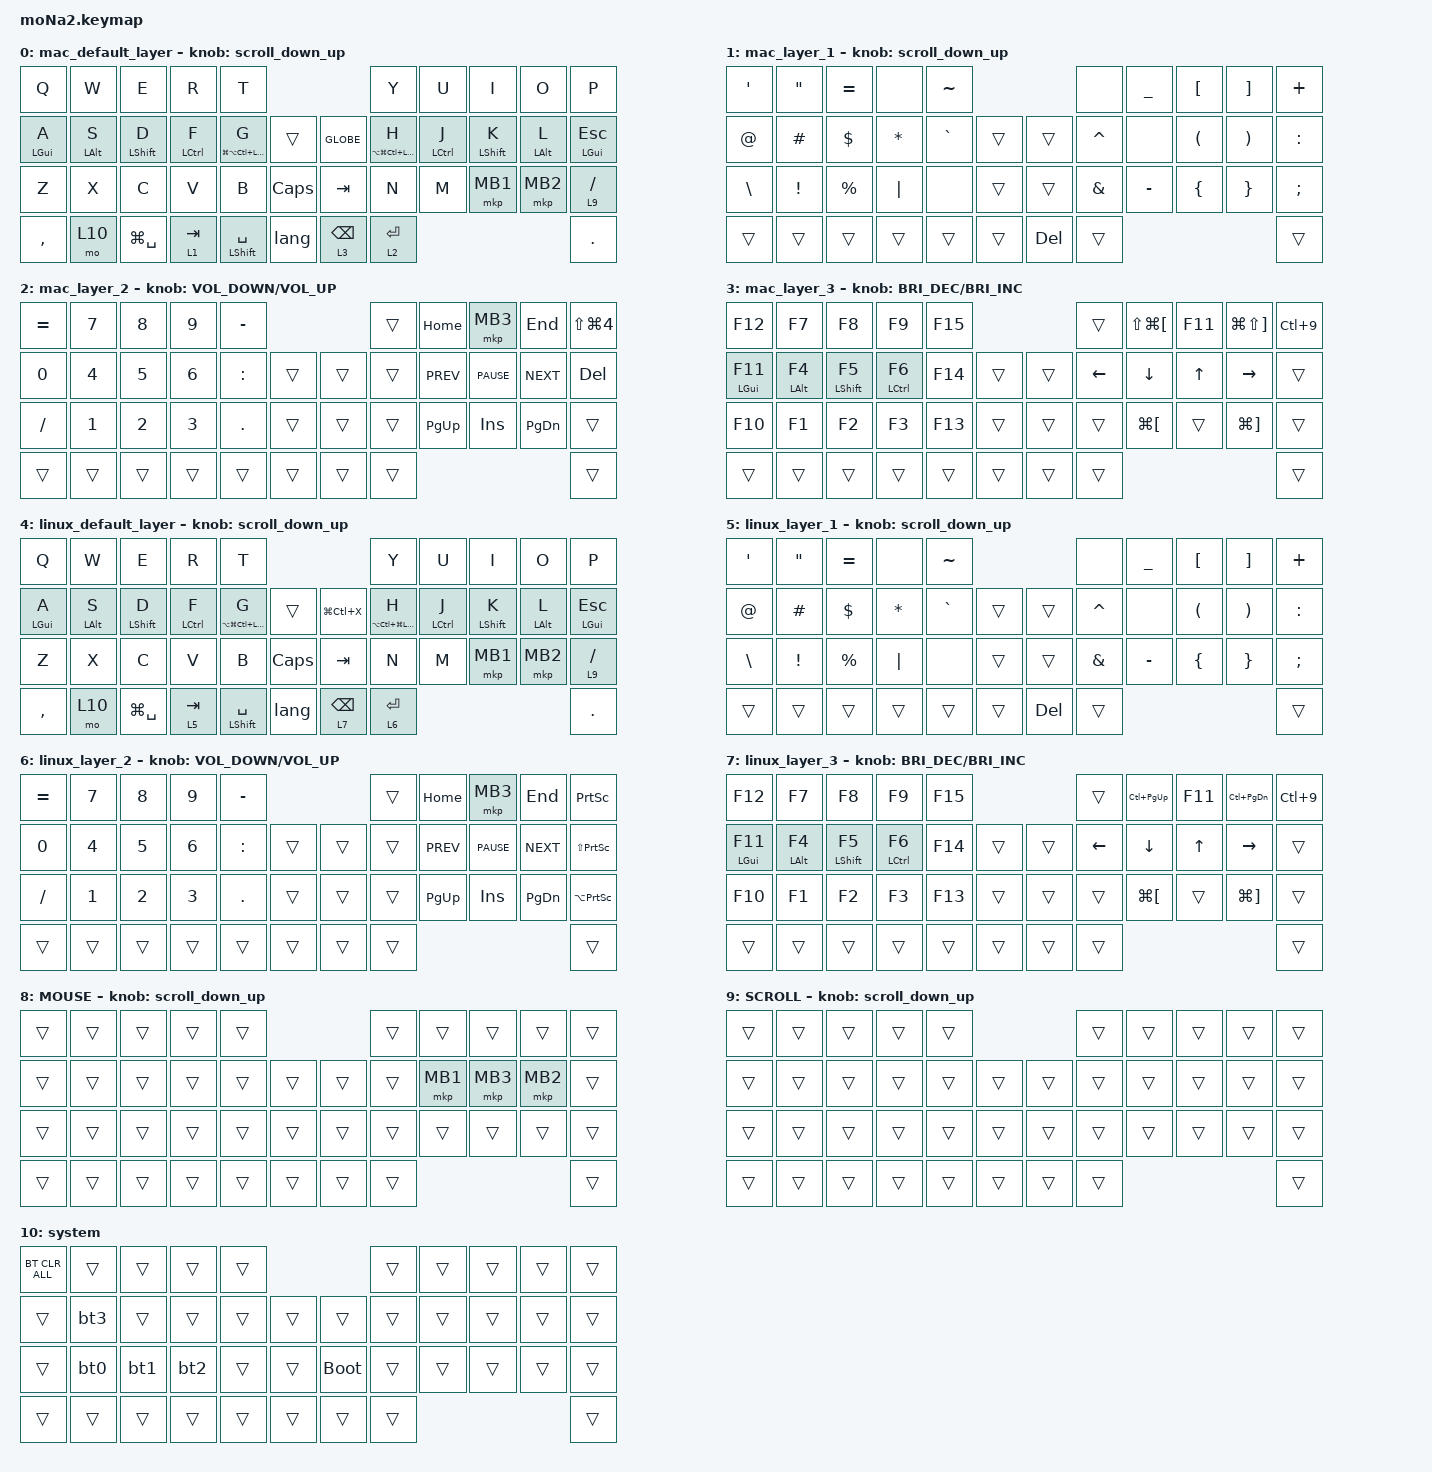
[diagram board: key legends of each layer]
#include <input/processors.dtsi>
#include <behaviors.dtsi>
#include <dt-bindings/zmk/bt.h>
#include <dt-bindings/zmk/keys.h>
#include <dt-bindings/zmk/pointing.h>

#define ZMK_POINTING_DEFAULT_SCRL_VAL 100
#define MOUSE 8

&mkp_input_listener { input-processors = <&zip_temp_layer 8 250>; };

&mt {
    flavor = "balanced";
    quick-tap-ms = <250>;
};

&lt {
    quick-tap-ms = <250>;
    flavor = "balanced";
};

/ {
    combos {
        compatible = "zmk,combos";

        test {
            bindings = <&none>;
            key-positions = <18 20 7 10 11 12 13>;
        };
    };

    macros {
        bt0: bt0 {
            compatible = "zmk,behavior-macro";
            #binding-cells = <0>;
            bindings =
                <&tog_off 0 &tog_off 4>,
                <&macro_wait_time 200>,
                <&bt BT_SEL 0>,
                <&macro_wait_time 500>;

            label = "BT0";
        };

        bt1: bt1 {
            compatible = "zmk,behavior-macro";
            #binding-cells = <0>;
            bindings =
                <&tog_off 0 &tog_off 4>,
                <&macro_wait_time 200>,
                <&bt BT_SEL 1>,
                <&macro_wait_time 500>,
                <&tog_on 4>;

            label = "BT1";
        };

        bt2: bt2 {
            compatible = "zmk,behavior-macro";
            #binding-cells = <0>;
            bindings =
                <&tog_off 0 &tog_off 4>,
                <&macro_wait_time 200>,
                <&bt BT_SEL 2>,
                <&macro_wait_time 500>,
                <&tog_on 4>;

            label = "BT2";
        };

        exit_AML: exit_AML {
            compatible = "zmk,behavior-macro";
            wait-ms = <0>;
            tap-ms = <0>;
            #binding-cells = <0>;
            bindings = <&tog_off MOUSE>;
            label = "exit_AML";
        };

        kp_exit_AML: kp_exit_AML {
            compatible = "zmk,behavior-macro-one-param";
            wait-ms = <0>;
            tap-ms = <0>;
            #binding-cells = <1>;
            bindings = <&macro_param_1to1 &kp MACRO_PLACEHOLDER &exit_AML>;
            label = "KP_exit_AML";
        };

        bt3: bt3 {
            compatible = "zmk,behavior-macro";
            #binding-cells = <0>;
            bindings =
                <&tog_off 0 &tog_off 4>,
                <&macro_wait_time 200>,
                <&bt BT_SEL 3>,
                <&macro_wait_time 500>;

            label = "BT3";
        };
    };

    behaviors {
        lt_to_layer_0: lt_to_layer_0 {
            compatible = "zmk,behavior-hold-tap";
            label = "LAYER_TAP_TO_0";
            bindings = <&mo>, <&bt0>;

            #binding-cells = <2>;
            tapping-term-ms = <200>;
        };

        scroll_up_down: behavior_sensor_rotate_mouse_wheel_up_down {
            compatible = "zmk,behavior-sensor-rotate";
            #sensor-binding-cells = <0>;
            bindings = <&msc SCRL_UP>, <&msc SCRL_DOWN>;

            tap-ms = <20>;
        };

        tog_on: tog_on {
            compatible = "zmk,behavior-toggle-layer";
            label = "TOG_ON";
            #binding-cells = <1>;
        };

        tog_off: tog_off {
            compatible = "zmk,behavior-toggle-layer";
            label = "TOG_OFF";
            #binding-cells = <1>;
            toggle-mode = "off";
        };

        lang: lang {
            compatible = "zmk,behavior-tap-dance";
            label = "LANG";
            #binding-cells = <0>;
            bindings = <&kp LANG2>, <&kp LANG1>;
        };

        lang_linux: lang_linux {
            compatible = "zmk,behavior-tap-dance";
            label = "LANG_LINUX";
            #binding-cells = <0>;
            bindings = <&kp INT_MUHENKAN>, <&kp INT_HENKAN>;
        };

        mt_exit_AML_on_tap: mt_exit_AML_on_tap {
            compatible = "zmk,behavior-hold-tap";
            label = "MT_exit_AML_ON_TAP";
            bindings = <&kp>, <&kp_exit_AML>;

            #binding-cells = <2>;
            tapping-term-ms = <200>;
            flavor = "balanced";
            quick-tap-ms = <300>;
        };

        super_mouse_click: super_mouse_click {
            compatible = "zmk,behavior-hold-tap";
            label = "SUPER_MOUSE_CLICK";
            bindings = <&kp>, <&mkp>;

            #binding-cells = <2>;
            tapping-term-ms = <200>;
            quick-tap-ms = <0>;
            flavor = "tap-unless-interrupted";
            hold-while-undecided;
        };

        hml: hml {
            compatible = "zmk,behavior-hold-tap";
            label = "HML";
            bindings = <&kp>, <&kp>;

            #binding-cells = <2>;
            flavor = "balanced";
            require-prior-idle-ms = <150>;
            tapping-term-ms = <280>;
            quick-tap-ms = <175>;
            hold-trigger-on-release;
            hold-trigger-key-positions = <16 17 18 19 20 21 28 29 30 31 32 33 40 41 42 5 6 7 8 9>;
        };

        hmr: hmr {
            compatible = "zmk,behavior-hold-tap";
            label = "HMR";
            bindings = <&kp>, <&kp>;

            #binding-cells = <2>;
            flavor = "balanced";
            require-prior-idle-ms = <150>;
            tapping-term-ms = <280>;
            quick-tap-ms = <175>;
            hold-trigger-on-release;
            hold-trigger-key-positions = <0 1 2 3 4 10 11 12 13 14 15 22 23 24 25 26 27 34 35 36 37 38 39>;
        };

        scroll_down_up: scroll_down_up {
            compatible = "zmk,behavior-sensor-rotate";
            #sensor-binding-cells = <0>;
            bindings = <&msc SCRL_DOWN>, <&msc SCRL_UP>;

            tap-ms = <20>;
            label = "SCROLL_DOWN_UP";
        };
    };

    keymap {
        compatible = "zmk,keymap";

        mac_default_layer {
            bindings = <
&kp Q            &kp W            &kp E              &kp R         &kp T                                                           &kp Y                          &kp U         &kp I              &kp O            &kp P
&hml LEFT_GUI A  &hml LEFT_ALT S  &hml LEFT_SHIFT D  &hml LCTRL F  &hml LG(LA(LC(LEFT_SHIFT))) G  &trans          &kp GLOBE        &hmr LA(LG(LC(LEFT_SHIFT))) H  &hmr LCTRL J  &hmr LEFT_SHIFT K  &hmr LEFT_ALT L  &hmr LEFT_GUI ESCAPE
&kp Z            &kp X            &kp C              &kp V         &kp B                          &kp CAPSLOCK    &kp TAB          &kp N                          &kp M         &mkp MB1           &mkp MB2         &lt 9 SLASH
&kp COMMA        &mo 10           &kp LG(SPACE)      &lt 1 TAB     &mt LEFT_SHIFT SPACE           &lang           &lt 3 BACKSPACE  &lt 2 ENTER                                                                      &kp PERIOD
            >;

            sensor-bindings = <&scroll_down_up>;
        };

        mac_layer_1 {
            bindings = <
&kp SINGLE_QUOTE  &kp DOUBLE_QUOTES  &kp EQUAL    &none         &kp TILDE                        &none          &kp UNDERSCORE  &kp LEFT_BRACKET      &kp RIGHT_BRACKET      &kp PLUS
&kp AT_SIGN       &kp HASH           &kp DOLLAR   &kp ASTERISK  &kp GRAVE  &trans    &trans      &kp CARET      &none           &kp LEFT_PARENTHESIS  &kp RIGHT_PARENTHESIS  &kp COLON
&kp BACKSLASH     &kp EXCLAMATION    &kp PERCENT  &kp PIPE      &none      &trans    &trans      &kp AMPERSAND  &kp MINUS       &kp LEFT_BRACE        &kp RIGHT_BRACE        &kp SEMICOLON
&trans            &trans             &trans       &trans        &trans     &trans    &kp DELETE  &trans                                                                      &trans
            >;

            sensor-bindings = <&scroll_down_up>;
        };

        mac_layer_2 {
            bindings = <
&kp EQUAL  &kp N7        &kp N8        &kp N9        &kp MINUS                     &trans  &kp HOME     &mkp MB3     &kp END        &kp LS(LG(NUMBER_4))
&kp N0     &kp NUMBER_4  &kp N5        &kp NUMBER_6  &kp COLON   &trans    &trans  &trans  &kp C_PREV   &kp C_PAUSE  &kp C_NEXT     &kp DEL
&kp SLASH  &kp NUMBER_1  &kp NUMBER_2  &kp NUMBER_3  &kp PERIOD  &trans    &trans  &trans  &kp PAGE_UP  &kp INS      &kp PAGE_DOWN  &trans
&trans     &trans        &trans        &trans        &trans      &trans    &trans  &trans                                           &trans
            >;

            sensor-bindings = <&inc_dec_kp C_VOLUME_DOWN C_VOL_UP>;
        };

        mac_layer_3 {
            bindings = <
&kp F12           &kp F7           &kp F8             &kp F9        &kp F15                    &trans          &kp LS(LG(LEFT_BRACKET))  &kp F11       &kp LG(LS(RIGHT_BRACKET))  &kp LC(N9)
&mt LEFT_GUI F11  &mt LEFT_ALT F4  &mt LEFT_SHIFT F5  &mt LCTRL F6  &kp F14  &trans    &trans  &kp LEFT_ARROW  &kp DOWN                  &kp UP_ARROW  &kp RIGHT                  &trans
&kp F10           &kp F1           &kp F2             &kp F3        &kp F13  &trans    &trans  &trans          &kp LG(LEFT_BRACKET)      &trans        &kp LG(RIGHT_BRACKET)      &trans
&trans            &trans           &trans             &trans        &trans   &trans    &trans  &trans                                                                             &trans
            >;

            sensor-bindings = <&inc_dec_kp C_BRIGHTNESS_DEC C_BRIGHTNESS_INC>;
        };

        linux_default_layer {
            bindings = <
&kp Q            &kp W            &kp E              &kp R         &kp T                                                           &kp Y                          &kp U         &kp I              &kp O            &kp P
&hml LEFT_GUI A  &hml LEFT_ALT S  &hml LEFT_SHIFT D  &hml LCTRL F  &hml LA(LG(LC(LEFT_SHIFT))) G  &trans          &kp LG(LC(X))    &hmr LA(LC(LG(LEFT_SHIFT))) H  &hmr LCTRL J  &hmr LEFT_SHIFT K  &hmr LEFT_ALT L  &hmr LEFT_GUI ESCAPE
&kp Z            &kp X            &kp C              &kp V         &kp B                          &kp CAPSLOCK    &kp TAB          &kp N                          &kp M         &mkp MB1           &mkp MB2         &lt 9 SLASH
&kp COMMA        &mo 10           &kp LG(SPACE)      &lt 5 TAB     &mt LEFT_SHIFT SPACE           &lang           &lt 7 BACKSPACE  &lt 6 ENTER                                                                      &kp PERIOD
            >;

            sensor-bindings = <&scroll_down_up>;
        };

        linux_layer_1 {
            bindings = <
&kp SINGLE_QUOTE  &kp DOUBLE_QUOTES  &kp EQUAL    &none         &kp TILDE                        &none          &kp UNDERSCORE  &kp LEFT_BRACKET      &kp RIGHT_BRACKET      &kp PLUS
&kp AT_SIGN       &kp HASH           &kp DOLLAR   &kp ASTERISK  &kp GRAVE  &trans    &trans      &kp CARET      &none           &kp LEFT_PARENTHESIS  &kp RIGHT_PARENTHESIS  &kp COLON
&kp BACKSLASH     &kp EXCLAMATION    &kp PERCENT  &kp PIPE      &none      &trans    &trans      &kp AMPERSAND  &kp MINUS       &kp LEFT_BRACE        &kp RIGHT_BRACE        &kp SEMICOLON
&trans            &trans             &trans       &trans        &trans     &trans    &kp DELETE  &trans                                                                      &trans
            >;

            sensor-bindings = <&scroll_down_up>;
        };

        linux_layer_2 {
            bindings = <
&kp EQUAL  &kp N7        &kp N8        &kp N9        &kp MINUS                     &trans  &kp HOME     &mkp MB3     &kp END        &kp PRINTSCREEN
&kp N0     &kp NUMBER_4  &kp N5        &kp NUMBER_6  &kp COLON   &trans    &trans  &trans  &kp C_PREV   &kp C_PAUSE  &kp C_NEXT     &kp LS(PRINTSCREEN)
&kp SLASH  &kp NUMBER_1  &kp NUMBER_2  &kp NUMBER_3  &kp PERIOD  &trans    &trans  &trans  &kp PAGE_UP  &kp INS      &kp PAGE_DOWN  &kp LA(PRINTSCREEN)
&trans     &trans        &trans        &trans        &trans      &trans    &trans  &trans                                           &trans
            >;

            sensor-bindings = <&inc_dec_kp C_VOLUME_DOWN C_VOLUME_UP>;
        };

        linux_layer_3 {
            bindings = <
&kp F12           &kp F7           &kp F8             &kp F9        &kp F15                    &trans          &kp LC(PAGE_UP)       &kp F11       &kp LC(PAGE_DOWN)      &kp LC(N9)
&mt LEFT_GUI F11  &mt LEFT_ALT F4  &mt LEFT_SHIFT F5  &mt LCTRL F6  &kp F14  &trans    &trans  &kp LEFT_ARROW  &kp DOWN              &kp UP_ARROW  &kp RIGHT              &trans
&kp F10           &kp F1           &kp F2             &kp F3        &kp F13  &trans    &trans  &trans          &kp LG(LEFT_BRACKET)  &trans        &kp LG(RIGHT_BRACKET)  &trans
&trans            &trans           &trans             &trans        &trans   &trans    &trans  &trans                                                                     &trans
            >;

            sensor-bindings = <&inc_dec_kp C_BRIGHTNESS_DEC C_BRIGHTNESS_INC>;
        };

        MOUSE {
            bindings = <
&trans  &trans  &trans  &trans  &trans                    &trans  &trans    &trans    &trans    &trans
&trans  &trans  &trans  &trans  &trans  &trans    &trans  &trans  &mkp MB1  &mkp MB3  &mkp MB2  &trans
&trans  &trans  &trans  &trans  &trans  &trans    &trans  &trans  &trans    &trans    &trans    &trans
&trans  &trans  &trans  &trans  &trans  &trans    &trans  &trans                                &trans
            >;

            sensor-bindings = <&scroll_down_up>;
        };

        SCROLL {
            bindings = <
&trans  &trans  &trans  &trans  &trans                    &trans  &trans  &trans  &trans  &trans
&trans  &trans  &trans  &trans  &trans  &trans    &trans  &trans  &trans  &trans  &trans  &trans
&trans  &trans  &trans  &trans  &trans  &trans    &trans  &trans  &trans  &trans  &trans  &trans
&trans  &trans  &trans  &trans  &trans  &trans    &trans  &trans                          &trans
            >;

            sensor-bindings = <&scroll_down_up>;
        };

        system {
            bindings = <
&bt BT_CLR_ALL  &trans  &trans  &trans  &trans                         &trans  &trans  &trans  &trans  &trans
&trans          &bt3    &trans  &trans  &trans  &trans    &trans       &trans  &trans  &trans  &trans  &trans
&trans          &bt0    &bt1    &bt2    &trans  &trans    &bootloader  &trans  &trans  &trans  &trans  &trans
&trans          &trans  &trans  &trans  &trans  &trans    &trans       &trans                          &trans
            >;
        };
    };
};
